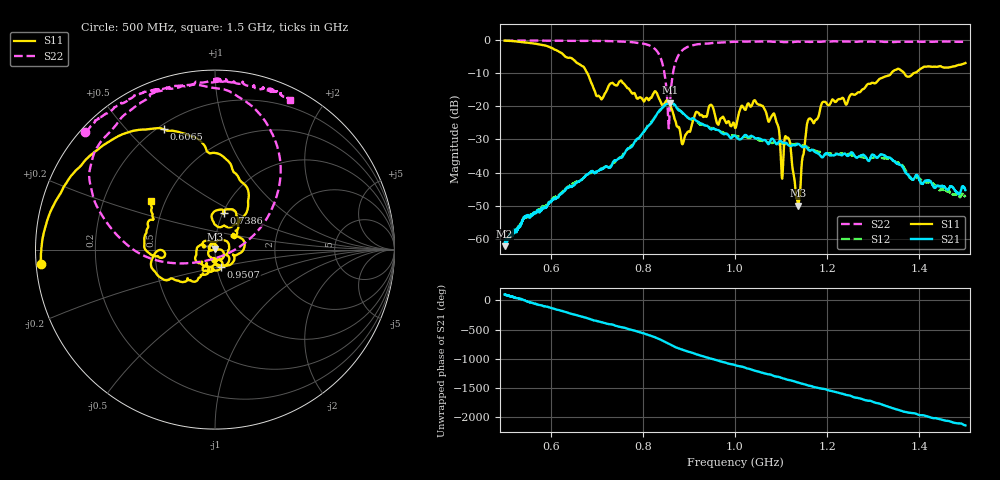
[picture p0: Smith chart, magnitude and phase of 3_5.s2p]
!Agilent Technologies,E8364B,US42250235,A.06.04.32
!Agilent E8364B: A.06.04.32
!Date: Thursday, October 01, 2020 14:42:50
!Correction: S11(Full 2 Port(1,2)) S21(Full 2 Port(1,2)) S12(Full 2 Port(1,2)) S22(Full 2 Port(1,2))
!S2P File: Measurements: S11, S21, S12, S22:
# Hz S  dB  R 50
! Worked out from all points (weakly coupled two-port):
!   2650 points, 500 MHz to 1.5 GHz, reference 50 ohm
!   highest |S21| = -18.90 dB at 858.2 MHz (marker M1); lowest = -62.1 dB at 500 MHz (marker M2)
!   lowest |S11| = -50.0 dB at 1.138 GHz (marker M3), VSWR 1.01, Z = 49.9 + j0.309 ohm
!   |S11| at or under -10 dB: 679.5 MHz to 1.339 GHz (659.9 MHz wide, 65.4 % of centre); 1.367 GHz to 1.388 GHz (20.88 MHz wide, 1.52 % of centre)
!   |S22| runs from -26.6 to -0.2 dB; largest |S21 - S12| = 0.0071
!   S11 on the Smith chart (normalised r, x): 500 MHz: 0.01, -0.04; 606.5 MHz: 0.22, +0.64; 738.6 MHz: 1.01, +0.43; 950.7 MHz: 1.05, -0.20; 1.5 GHz: 0.42, +0.28
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5e8  -0.22 -175.2  -62.14 101.1  -61.38 107.0  -0.22 137.9
5.532276e8  -0.89 153.6  -53.17 -28.0  -52.84 -21.0  -0.20 131.7
6.064553e8  -2.74 113.1  -47.80 -142.4  -47.50 -136.4  -0.30 127.3
6.668554e8  -7.78 69.8  -42.15 84.9  -42.14 87.7  -0.31 119.8
7.06493e8  -17.14 71.0  -39.19 -4.7  -39.11 -2.2  -0.34 115.1
7.385806e8  -13.54 76.9  -36.29 -69.9  -36.81 -67.4  -0.41 111.0
8.020008e8  -18.55 36.0  -27.65 154.7  -27.81 154.9  -1.13 83.6
8.337108e8  -17.26 -9.0  -21.67 65.6  -21.87 62.7  -4.00 55.2
8.582484e8  -19.51 -58.3  -18.90 -28.3  -18.91 -30.1  -21.37 -132.0
8.673084e8  -22.89 -92.0  -19.31 -65.3  -19.48 -67.2  -8.59 -172.9
8.801435e8  -27.02 -148.4  -21.34 -106.6  -21.18 -111.0  -3.98 165.2
9.507361e8  -19.92 -70.1  -26.84 79.2  -26.54 77.0  -0.94 126.3
1.000189e9  -26.49 -100.8  -28.93 -29.3  -28.81 -30.7  -0.56 112.2
1.042469e9  -18.18 -149.8  -29.49 -122.3  -29.71 -121.2  -0.53 110.4
1.084749e9  -22.20 146.3  -30.29 144.0  -30.85 151.8  -0.60 108.7
1.101737e9  -41.54 129.1  -30.75 109.8  -31.21 117.0  -0.62 105.8
1.116837e9  -29.87 112.2  -31.83 76.6  -31.07 85.4  -0.65 101.0
1.137599e9  -49.98 102.7  -31.34 33.1  -31.51 37.8  -0.54 96.4
1.156097e9  -25.51 -21.6  -32.51 -12.0  -32.20 -5.3  -0.55 92.2
1.166667e9  -24.19 -66.7  -33.05 -30.3  -32.91 -26.6  -0.59 90.1
1.333522e9  -10.72 -146.6  -35.43 -22.8  -35.82 -18.2  -0.56 76.5
1.5e9  -6.98 142.9  -45.25 18.1  -47.38 15.7  -0.61 63.4
